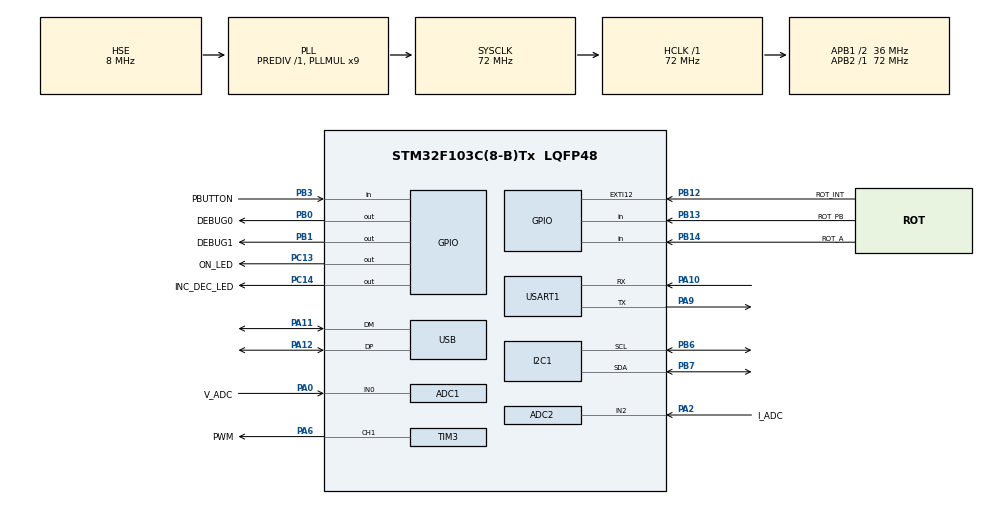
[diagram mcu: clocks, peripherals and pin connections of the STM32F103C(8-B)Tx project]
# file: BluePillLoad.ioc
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ADC1.Channel-1\#ChannelRegularConversion=ADC_CHANNEL_0
ADC1.DataAlign=ADC_DATAALIGN_RIGHT
ADC1.EnableAnalogWatchDog=true
ADC1.NbrOfConversionFlag=1
ADC1.Rank-1\#ChannelRegularConversion=1
ADC1.SamplingTime-1\#ChannelRegularConversion=ADC_SAMPLETIME_239CYCLES_5
ADC1.master=1
ADC2.Channel-0\#ChannelRegularConversion=ADC_CHANNEL_2
ADC2.DataAlign=ADC_DATAALIGN_RIGHT
ADC2.NbrOfConversionFlag=1
ADC2.Rank-0\#ChannelRegularConversion=1
ADC2.SamplingTime-0\#ChannelRegularConversion=ADC_SAMPLETIME_239CYCLES_5
Mcu.Family=STM32F1
Mcu.Name=STM32F103C(8-B)Tx
Mcu.Package=LQFP48
NVIC.EXTI15_10_IRQn=true\:0\:0\:false\:false\:true\:true\:true
NVIC.PriorityGroup=NVIC_PRIORITYGROUP_4
NVIC.USB_LP_CAN1_RX0_IRQn=true\:0\:0\:false\:false\:true\:false\:true
PA0-WKUP.GPIO_Label=V_ADC
PA0-WKUP.Signal=ADCx_IN0
PA10.Mode=Asynchronous
PA10.Signal=USART1_RX
PA11.Mode=Device
PA11.Signal=USB_DM
PA12.Mode=Device
PA12.Signal=USB_DP
PA13.Mode=Serial_Wire
PA13.Signal=SYS_JTMS-SWDIO
PA14.Mode=Serial_Wire
PA14.Signal=SYS_JTCK-SWCLK
PA2.GPIO_Label=I_ADC
PA2.Signal=ADCx_IN2
PA6.GPIO_Label=PWM
PA6.Signal=S_TIM3_CH1
PA9.Mode=Asynchronous
PA9.Signal=USART1_TX
PB0.GPIO_Label=DEBUG0
PB0.GPIO_Speed=GPIO_SPEED_FREQ_MEDIUM
PB0.Signal=GPIO_Output
PB1.GPIO_Label=DEBUG1
PB1.GPIO_Speed=GPIO_SPEED_FREQ_MEDIUM
PB1.Signal=GPIO_Output
PB12.GPIO_Label=ROT_INT
PB12.GPIO_ModeDefaultEXTI=GPIO_MODE_IT_FALLING
PB12.GPIO_PuPd=GPIO_PULLUP
PB12.Signal=GPXTI12
PB13.GPIO_Label=ROT_PB
PB13.GPIO_PuPd=GPIO_PULLUP
PB13.Signal=GPIO_Input
PB14.GPIO_Label=ROT_A
PB14.GPIO_PuPd=GPIO_PULLUP
PB14.Signal=GPIO_Input
PB3.GPIO_Label=PBUTTON
PB3.GPIO_PuPd=GPIO_PULLUP
PB3.Signal=GPIO_Input
PB6.Mode=I2C
PB6.Signal=I2C1_SCL
PB7.Mode=I2C
PB7.Signal=I2C1_SDA
PC13-TAMPER-RTC.GPIO_Label=ON_LED
PC13-TAMPER-RTC.GPIO_ModeDefaultOutputPP=GPIO_MODE_OUTPUT_OD
PC13-TAMPER-RTC.PinState=GPIO_PIN_RESET
PC13-TAMPER-RTC.Signal=GPIO_Output
PC14-OSC32_IN.GPIO_Label=INC_DEC_LED
PC14-OSC32_IN.Signal=GPIO_Output
PD0-OSC_IN.Mode=HSE-External-Oscillator
PD0-OSC_IN.Signal=RCC_OSC_IN
PD1-OSC_OUT.Mode=HSE-External-Oscillator
PD1-OSC_OUT.Signal=RCC_OSC_OUT
ProjectManager.HeapSize=0x200
ProjectManager.StackSize=0x400
ProjectManager.TargetToolchain=STM32CubeIDE
RCC.ADCPresc=RCC_ADCPCLK2_DIV6
RCC.AHBFreq_Value=72000000
RCC.APB1CLKDivider=RCC_HCLK_DIV2
RCC.APB1Freq_Value=36000000
RCC.APB1TimFreq_Value=72000000
RCC.APB2Freq_Value=72000000
RCC.APB2TimFreq_Value=72000000
RCC.HCLKFreq_Value=72000000
RCC.PLLMUL=RCC_PLL_MUL9
RCC.SYSCLKFreq_VALUE=72000000
RCC.SYSCLKSource=RCC_SYSCLKSOURCE_PLLCLK
RCC.USBFreq_Value=48000000
RCC.USBPrescaler=RCC_USBCLKSOURCE_PLL_DIV1_5
SH.ADCx_IN0.0=ADC1_IN0,IN0
SH.ADCx_IN2.0=ADC2_IN2,IN2
SH.S_TIM3_CH1.0=TIM3_CH1,PWM Generation1 CH1
TIM2.AutoReloadPreload=TIM_AUTORELOAD_PRELOAD_ENABLE
TIM2.Period=4096
TIM2.Prescaler=0
TIM3.Channel-PWM\ Generation1\ CH1=TIM_CHANNEL_1
USART1.VirtualMode=VM_ASYNC
USB_DEVICE.CLASS_NAME_FS=CDC
USB_DEVICE.VirtualMode=Cdc
USB_DEVICE.VirtualModeFS=Cdc_FS
VP_TIM2_VS_ClockSourceINT.Mode=Internal
VP_USB_DEVICE_VS_USB_DEVICE_CDC_FS.Mode=CDC_FS
board=custom

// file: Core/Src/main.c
/* USER CODE BEGIN Header */
/**
  ******************************************************************************
  * @file           : main.c
  * @brief          : Main program body
  ******************************************************************************
  * @attention
  *
  * <h2><center>&copy; Copyright (c) 2022 STMicroelectronics.
  * All rights reserved.</center></h2>
  *
  * This software component is licensed by ST under BSD 3-Clause license,
  * the "License"; You may not use this file except in compliance with the
  * License. You may obtain a copy of the License at:
  *                        opensource.org/licenses/BSD-3-Clause
  *
  ******************************************************************************
  */
/* USER CODE END Header */

#include "main.h"
#include "usb_device.h"

/* USER CODE BEGIN Includes */

#include "debug_pin.h"
#include "load.h"

/* USER CODE END Includes */

ADC_HandleTypeDef hadc1;
ADC_HandleTypeDef hadc2;

I2C_HandleTypeDef hi2c1;

TIM_HandleTypeDef htim2;
TIM_HandleTypeDef htim3;

UART_HandleTypeDef huart1;

void SystemClock_Config(void);
static void MX_GPIO_Init(void);
static void MX_ADC1_Init(void);
static void MX_I2C1_Init(void);
static void MX_TIM2_Init(void);
static void MX_ADC2_Init(void);
static void MX_USART1_UART_Init(void);
static void MX_TIM3_Init(void);

int main(void)
{

  /* MCU Configuration--------------------------------------------------------*/

  /* Reset of all peripherals, Initializes the Flash interface and the Systick. */
  HAL_Init();

  /* Configure the system clock */
  SystemClock_Config();

  /* Initialize all configured peripherals */
  MX_GPIO_Init();
  MX_ADC1_Init();
  MX_I2C1_Init();
  MX_TIM2_Init();
  MX_USB_DEVICE_Init();
  MX_ADC2_Init();
  MX_USART1_UART_Init();
  MX_TIM3_Init();
  /* USER CODE BEGIN 2 */
  debug_pin_init();
  load_init();
  /* USER CODE END 2 */

  /* Infinite loop */
  while (1)
  {

    /* USER CODE BEGIN 3 */
	load_poll();

	/* Clear debug to show end of activity.
	 * debug_0 is low while sleeping.
	 */
	debug_0(0);

	__WFI();

	/*
	 * Although we set debug pin here, it should also be set in ISRs.
	 */
	debug_0(1);
  }
  /* USER CODE END 3 */
}

void SystemClock_Config(void)
{
  RCC_OscInitTypeDef RCC_OscInitStruct = {0};
  RCC_ClkInitTypeDef RCC_ClkInitStruct = {0};
  RCC_PeriphCLKInitTypeDef PeriphClkInit = {0};

  /** Initializes the CPU, AHB and APB busses clocks
  */
  RCC_OscInitStruct.OscillatorType = RCC_OSCILLATORTYPE_HSE;
  RCC_OscInitStruct.HSEState = RCC_HSE_ON;
  RCC_OscInitStruct.HSEPredivValue = RCC_HSE_PREDIV_DIV1;
  RCC_OscInitStruct.HSIState = RCC_HSI_ON;
  RCC_OscInitStruct.PLL.PLLState = RCC_PLL_ON;
  RCC_OscInitStruct.PLL.PLLSource = RCC_PLLSOURCE_HSE;
  RCC_OscInitStruct.PLL.PLLMUL = RCC_PLL_MUL9;
  if (HAL_RCC_OscConfig(&RCC_OscInitStruct) != HAL_OK)
  {
    Error_Handler();
  }
  /** Initializes the CPU, AHB and APB busses clocks
  */
  RCC_ClkInitStruct.ClockType = RCC_CLOCKTYPE_HCLK|RCC_CLOCKTYPE_SYSCLK
                              |RCC_CLOCKTYPE_PCLK1|RCC_CLOCKTYPE_PCLK2;
  RCC_ClkInitStruct.SYSCLKSource = RCC_SYSCLKSOURCE_PLLCLK;
  RCC_ClkInitStruct.AHBCLKDivider = RCC_SYSCLK_DIV1;
  RCC_ClkInitStruct.APB1CLKDivider = RCC_HCLK_DIV2;
  RCC_ClkInitStruct.APB2CLKDivider = RCC_HCLK_DIV1;

  if (HAL_RCC_ClockConfig(&RCC_ClkInitStruct, FLASH_LATENCY_2) != HAL_OK)
  {
    Error_Handler();
  }
  PeriphClkInit.PeriphClockSelection = RCC_PERIPHCLK_ADC|RCC_PERIPHCLK_USB;
  PeriphClkInit.AdcClockSelection = RCC_ADCPCLK2_DIV6;
  PeriphClkInit.UsbClockSelection = RCC_USBCLKSOURCE_PLL_DIV1_5;
  if (HAL_RCCEx_PeriphCLKConfig(&PeriphClkInit) != HAL_OK)
  {
    Error_Handler();
  }
}

static void MX_ADC1_Init(void)
{

  ADC_AnalogWDGConfTypeDef AnalogWDGConfig = {0};
  ADC_ChannelConfTypeDef sConfig = {0};

  /** Common config
  */
  hadc1.Instance = ADC1;
  hadc1.Init.ScanConvMode = ADC_SCAN_DISABLE;
  hadc1.Init.ContinuousConvMode = DISABLE;
  hadc1.Init.DiscontinuousConvMode = DISABLE;
  hadc1.Init.ExternalTrigConv = ADC_SOFTWARE_START;
  hadc1.Init.DataAlign = ADC_DATAALIGN_RIGHT;
  hadc1.Init.NbrOfConversion = 1;
  if (HAL_ADC_Init(&hadc1) != HAL_OK)
  {
    Error_Handler();
  }
  /** Configure Analog WatchDog 1
  */
  AnalogWDGConfig.WatchdogMode = ADC_ANALOGWATCHDOG_SINGLE_REG;
  AnalogWDGConfig.HighThreshold = 0;
  AnalogWDGConfig.LowThreshold = 0;
  AnalogWDGConfig.Channel = ADC_CHANNEL_0;
  AnalogWDGConfig.ITMode = DISABLE;
  if (HAL_ADC_AnalogWDGConfig(&hadc1, &AnalogWDGConfig) != HAL_OK)
  {
    Error_Handler();
  }
  /** Configure Regular Channel
  */
  sConfig.Channel = ADC_CHANNEL_0;
  sConfig.Rank = ADC_REGULAR_RANK_1;
  sConfig.SamplingTime = ADC_SAMPLETIME_239CYCLES_5;
  if (HAL_ADC_ConfigChannel(&hadc1, &sConfig) != HAL_OK)
  {
    Error_Handler();
  }

}

static void MX_ADC2_Init(void)
{

  ADC_ChannelConfTypeDef sConfig = {0};

  /** Common config
  */
  hadc2.Instance = ADC2;
  hadc2.Init.ScanConvMode = ADC_SCAN_DISABLE;
  hadc2.Init.ContinuousConvMode = DISABLE;
  hadc2.Init.DiscontinuousConvMode = DISABLE;
  hadc2.Init.ExternalTrigConv = ADC_SOFTWARE_START;
  hadc2.Init.DataAlign = ADC_DATAALIGN_RIGHT;
  hadc2.Init.NbrOfConversion = 1;
  if (HAL_ADC_Init(&hadc2) != HAL_OK)
  {
    Error_Handler();
  }
  /** Configure Regular Channel
  */
  sConfig.Channel = ADC_CHANNEL_2;
  sConfig.Rank = ADC_REGULAR_RANK_1;
  sConfig.SamplingTime = ADC_SAMPLETIME_239CYCLES_5;
  if (HAL_ADC_ConfigChannel(&hadc2, &sConfig) != HAL_OK)
  {
    Error_Handler();
  }

}

static void MX_I2C1_Init(void)
{

  hi2c1.Instance = I2C1;
  hi2c1.Init.ClockSpeed = 100000;
  hi2c1.Init.DutyCycle = I2C_DUTYCYCLE_2;
  hi2c1.Init.OwnAddress1 = 0;
  hi2c1.Init.AddressingMode = I2C_ADDRESSINGMODE_7BIT;
  hi2c1.Init.DualAddressMode = I2C_DUALADDRESS_DISABLE;
  hi2c1.Init.OwnAddress2 = 0;
  hi2c1.Init.GeneralCallMode = I2C_GENERALCALL_DISABLE;
  hi2c1.Init.NoStretchMode = I2C_NOSTRETCH_DISABLE;
  if (HAL_I2C_Init(&hi2c1) != HAL_OK)
  {
    Error_Handler();
  }

}

static void MX_TIM2_Init(void)
{

  TIM_ClockConfigTypeDef sClockSourceConfig = {0};
  TIM_MasterConfigTypeDef sMasterConfig = {0};

  htim2.Instance = TIM2;
  htim2.Init.Prescaler = 0;
  htim2.Init.CounterMode = TIM_COUNTERMODE_UP;
  htim2.Init.Period = 4096;
  htim2.Init.ClockDivision = TIM_CLOCKDIVISION_DIV1;
  htim2.Init.AutoReloadPreload = TIM_AUTORELOAD_PRELOAD_ENABLE;
  if (HAL_TIM_Base_Init(&htim2) != HAL_OK)
  {
    Error_Handler();
  }
  sClockSourceConfig.ClockSource = TIM_CLOCKSOURCE_INTERNAL;
  if (HAL_TIM_ConfigClockSource(&htim2, &sClockSourceConfig) != HAL_OK)
  {
    Error_Handler();
  }
  sMasterConfig.MasterOutputTrigger = TIM_TRGO_RESET;
  sMasterConfig.MasterSlaveMode = TIM_MASTERSLAVEMODE_DISABLE;
  if (HAL_TIMEx_MasterConfigSynchronization(&htim2, &sMasterConfig) != HAL_OK)
  {
    Error_Handler();
  }

}

static void MX_TIM3_Init(void)
{

  TIM_MasterConfigTypeDef sMasterConfig = {0};
  TIM_OC_InitTypeDef sConfigOC = {0};

  htim3.Instance = TIM3;
  htim3.Init.Prescaler = 0;
  htim3.Init.CounterMode = TIM_COUNTERMODE_UP;
  htim3.Init.Period = 0;
  htim3.Init.ClockDivision = TIM_CLOCKDIVISION_DIV1;
  htim3.Init.AutoReloadPreload = TIM_AUTORELOAD_PRELOAD_DISABLE;
  if (HAL_TIM_PWM_Init(&htim3) != HAL_OK)
  {
    Error_Handler();
  }
  sMasterConfig.MasterOutputTrigger = TIM_TRGO_RESET;
  sMasterConfig.MasterSlaveMode = TIM_MASTERSLAVEMODE_DISABLE;
  if (HAL_TIMEx_MasterConfigSynchronization(&htim3, &sMasterConfig) != HAL_OK)
  {
    Error_Handler();
  }
  sConfigOC.OCMode = TIM_OCMODE_PWM1;
  sConfigOC.Pulse = 0;
  sConfigOC.OCPolarity = TIM_OCPOLARITY_HIGH;
  sConfigOC.OCFastMode = TIM_OCFAST_DISABLE;
  if (HAL_TIM_PWM_ConfigChannel(&htim3, &sConfigOC, TIM_CHANNEL_1) != HAL_OK)
  {
    Error_Handler();
  }
  HAL_TIM_MspPostInit(&htim3);

}

static void MX_USART1_UART_Init(void)
{

  huart1.Instance = USART1;
  huart1.Init.BaudRate = 115200;
  huart1.Init.WordLength = UART_WORDLENGTH_8B;
  huart1.Init.StopBits = UART_STOPBITS_1;
  huart1.Init.Parity = UART_PARITY_NONE;
  huart1.Init.Mode = UART_MODE_TX_RX;
  huart1.Init.HwFlowCtl = UART_HWCONTROL_NONE;
  huart1.Init.OverSampling = UART_OVERSAMPLING_16;
  if (HAL_UART_Init(&huart1) != HAL_OK)
  {
    Error_Handler();
  }

}

static void MX_GPIO_Init(void)
{
  GPIO_InitTypeDef GPIO_InitStruct = {0};

  /* GPIO Ports Clock Enable */
  __HAL_RCC_GPIOC_CLK_ENABLE();
  __HAL_RCC_GPIOD_CLK_ENABLE();
  __HAL_RCC_GPIOA_CLK_ENABLE();
  __HAL_RCC_GPIOB_CLK_ENABLE();

  /*Configure GPIO pin Output Level */
  HAL_GPIO_WritePin(GPIOC, ON_LED_Pin|INC_DEC_LED_Pin, GPIO_PIN_RESET);

  /*Configure GPIO pin Output Level */
  HAL_GPIO_WritePin(GPIOB, DEBUG0_Pin|DEBUG1_Pin, GPIO_PIN_RESET);

  /*Configure GPIO pin : ON_LED_Pin */
  GPIO_InitStruct.Pin = ON_LED_Pin;
  GPIO_InitStruct.Mode = GPIO_MODE_OUTPUT_OD;
  GPIO_InitStruct.Pull = GPIO_NOPULL;
  GPIO_InitStruct.Speed = GPIO_SPEED_FREQ_LOW;
  HAL_GPIO_Init(ON_LED_GPIO_Port, &GPIO_InitStruct);

  /*Configure GPIO pin : INC_DEC_LED_Pin */
  GPIO_InitStruct.Pin = INC_DEC_LED_Pin;
  GPIO_InitStruct.Mode = GPIO_MODE_OUTPUT_PP;
  GPIO_InitStruct.Pull = GPIO_NOPULL;
  GPIO_InitStruct.Speed = GPIO_SPEED_FREQ_LOW;
  HAL_GPIO_Init(INC_DEC_LED_GPIO_Port, &GPIO_InitStruct);

  /*Configure GPIO pins : DEBUG0_Pin DEBUG1_Pin */
  GPIO_InitStruct.Pin = DEBUG0_Pin|DEBUG1_Pin;
  GPIO_InitStruct.Mode = GPIO_MODE_OUTPUT_PP;
  GPIO_InitStruct.Pull = GPIO_NOPULL;
  GPIO_InitStruct.Speed = GPIO_SPEED_FREQ_MEDIUM;
  HAL_GPIO_Init(GPIOB, &GPIO_InitStruct);

  /*Configure GPIO pin : ROT_INT_Pin */
  GPIO_InitStruct.Pin = ROT_INT_Pin;
  GPIO_InitStruct.Mode = GPIO_MODE_IT_FALLING;
  GPIO_InitStruct.Pull = GPIO_PULLUP;
  HAL_GPIO_Init(ROT_INT_GPIO_Port, &GPIO_InitStruct);

  /*Configure GPIO pins : ROT_PB_Pin ROT_A_Pin PBUTTON_Pin */
  GPIO_InitStruct.Pin = ROT_PB_Pin|ROT_A_Pin|PBUTTON_Pin;
  GPIO_InitStruct.Mode = GPIO_MODE_INPUT;
  GPIO_InitStruct.Pull = GPIO_PULLUP;
  HAL_GPIO_Init(GPIOB, &GPIO_InitStruct);

  /* EXTI interrupt init*/
  HAL_NVIC_SetPriority(EXTI15_10_IRQn, 0, 0);
  HAL_NVIC_EnableIRQ(EXTI15_10_IRQn);

}

/* USER CODE BEGIN 4 */

static uint32_t tick_counter;

uint32_t get_tick(void)
{
	return tick_counter;
}
void systick_hook(void)
{
	debug_0(1);

	/*
	 * The load ticks are split in two parts.
	 * ADC conversions started in the first part are
	 * consumed in the second part.
	 * By splitting them we allow the conversion time to be used
	 * for other purposes rather than lost waiting.
	 */
	load_tick0();

	tick_counter++;

	/* Place any more tick processing here. */

	load_tick1();
}

void HAL_GPIO_EXTI_Callback(uint16_t GPIO_Pin)
{
	debug_0(1);
	load_rotation_isr(GPIO_Pin);
}
/* USER CODE END 4 */

void Error_Handler(void)
{
}

/************************ (C) COPYRIGHT STMicroelectronics *****END OF FILE****/
